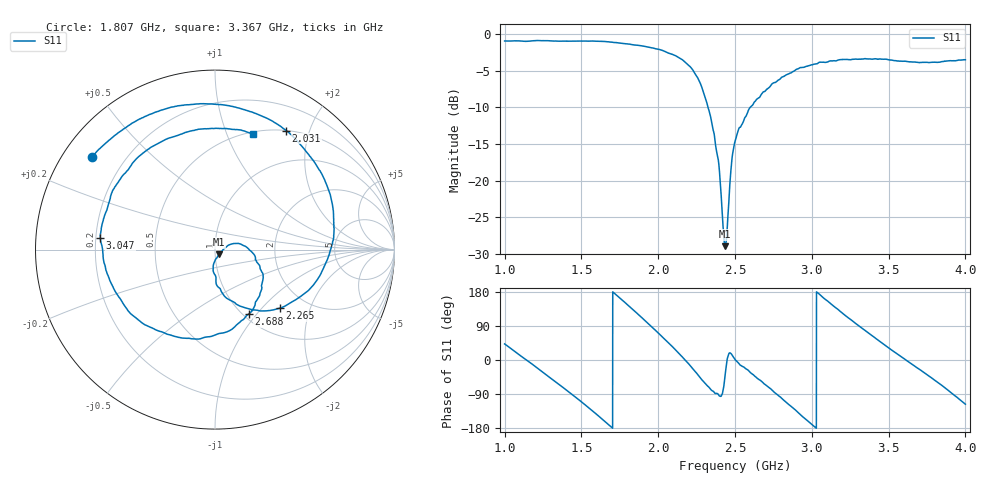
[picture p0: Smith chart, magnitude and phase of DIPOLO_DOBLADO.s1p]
!Agilent Technologies,E8364A,US41440144,A.06.04.32
!Agilent E8364A: A.06.04.32
!Date: Thursday, May 24, 2018 11:13:21
!Correction: S11(Full 1 Port(1))
!S1P File: Measurement: S11:
# Hz S  dB  R 50
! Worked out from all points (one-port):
!   3201 points, 1 GHz to 4 GHz, reference 50 ohm
!   lowest |S11| = -29.0 dB at 2.433 GHz (marker M1), VSWR 1.07, Z = 52.4 - j2.73 ohm
!   |S11| at or under -10 dB: 2.324 GHz to 2.599 GHz (274.6 MHz wide, 11.2 % of centre)
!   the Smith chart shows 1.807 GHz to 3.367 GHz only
!   S11 on the Smith chart (normalised r, x): 1.807 GHz: 0.09, +0.33; 2.031 GHz: 0.50, +1.65; 2.265 GHz: 1.48, -1.26; 2.688 GHz: 1.06, -0.91; 3.047 GHz: 0.22, +0.05; 3.367 GHz: 0.53, +1.25
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1e9  -0.92 42.5
1.094688e9  -0.91 13.9
1.190312e9  -0.88 -14.3
1.375e9  -0.94 -70.8
1.460312e9  -0.93 -97.7
1.542812e9  -0.95 -124.4
1.6525e9  -1.00 -162.0
1.75e9  -1.20 163.6
1.807188e9  -1.34 143.2
1.919688e9  -1.69 101.7
2.03125e9  -2.24 59.2
2.125e9  -3.07 21.6
2.195312e9  -4.22 -8.8
2.264688e9  -6.27 -42.2
2.37625e9  -15.59 -88.3
2.433438e9  -28.98 -47.0
2.5e9  -14.64 1.7
2.688438e9  -7.85 -62.5
2.793438e9  -6.13 -97.2
2.875e9  -5.14 -125.7
3.0475e9  -3.84 174.2
3.130938e9  -3.65 145.9
3.25e9  -3.49 107.7
3.367188e9  -3.39 71.6
3.49375e9  -3.45 33.6
3.625e9  -3.74 -3.5
3.85375e9  -3.73 -69.2
4e9  -3.49 -116.6
